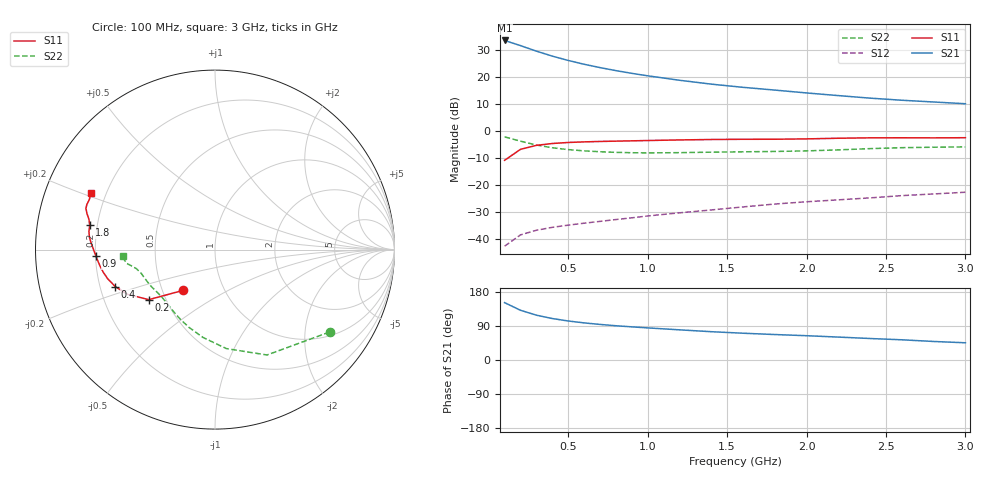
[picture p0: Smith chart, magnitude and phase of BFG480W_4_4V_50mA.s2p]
! Filename: 4_450BFG480.001
! Title: BFG480W
! Bias: Vce=4.4V; Ic=50mA
! Company: Philips Semiconductors NL
! User: Quality&Reliability T&D
! Measure time: 10 Nov 1999 / 12:06:01
#  MHz  S  MA  R 50
! Freq  S11  S21  S12  S22  :
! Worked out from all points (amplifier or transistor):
!   20 points, 100 MHz to 3 GHz, reference 50 ohm
!   highest |S21| = 33.6 dB at 100 MHz (marker M1)
!   |S21| within 3 dB of that: start of sweep to 253.3 MHz
!   unconditionally stable (mu >= 1): 950 MHz to end of sweep
!   at 400 MHz: K = 0.65, MSG = 31.7 dB, |S12| = -35.6 dB
!   at 1.2 GHz: K = 1.05, MAG = 23.1 dB, |S12| = -30.2 dB
!   at 3 GHz: K = 1.06, MAG = 14.9 dB, |S12| = -22.6 dB
!   S11 on the Smith chart (normalised r, x): 100 MHz: 0.64, -0.32; 200 MHz: 0.40, -0.29; 400 MHz: 0.26, -0.17; 900 MHz: 0.20, -0.03; 1.8 GHz: 0.17, +0.09; 3 GHz: 0.14, +0.21
100  0.2895 -128.2  47.9 151.3  0.007454 64.0  0.7862 -35.8
200  0.4624 -142.9  38.43 131.2  0.01207 55.7  0.6547 -63.8
300  0.548 -153.0  30.39 118.3  0.01469 52.3  0.5552 -83.4
400  0.5927 -159.7  24.57 109.4  0.01664 52.1  0.4942 -97.7
500  0.6191 -164.7  20.45 103.0  0.01825 53.4  0.4571 -108.4
600  0.6354 -168.6  17.38 97.9  0.01985 54.9  0.4333 -116.5
700  0.6466 -171.7  15.08 93.9  0.02144 57.0  0.4173 -123.0
800  0.6555 -174.4  13.26 90.4  0.02319 59.1  0.4066 -128.4
900  0.6641 -176.9  11.79 87.5  0.02494 61.4  0.4001 -133.1
1000  0.673 -179.1  10.62 84.7  0.02697 63.0  0.3973 -137.4
1200  0.6899 177.2  8.784 79.6  0.03087 65.8  0.4011 -144.4
1400  0.7028 174.5  7.45 74.7  0.03489 67.9  0.4098 -149.6
1600  0.7095 171.8  6.499 70.7  0.03969 69.7  0.4158 -153.6
1800  0.7108 169.0  5.779 67.2  0.04489 71.1  0.4224 -157.7
2000  0.7217 166.6  5.114 64.1  0.04945 72.5  0.4326 -162.4
2200  0.7418 164.2  4.568 60.5  0.05367 72.9  0.4516 -166.5
2400  0.7549 162.3  4.098 56.7  0.05838 73.0  0.4763 -169.2
2600  0.7569 160.6  3.747 53.3  0.06428 72.7  0.4961 -171.0
2800  0.7537 158.3  3.477 48.9  0.06899 71.7  0.5059 -172.9
3000  0.7589 155.6  3.228 45.4  0.07429 71.2  0.5135 -176.0
